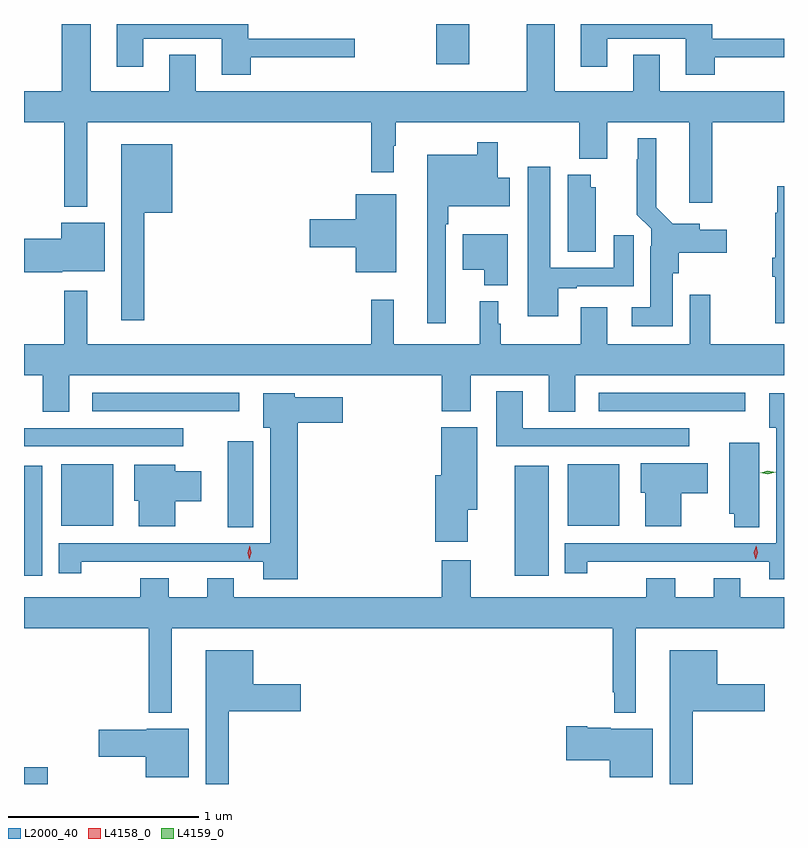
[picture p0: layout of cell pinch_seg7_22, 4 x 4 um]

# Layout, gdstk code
import gdstk
lib = gdstk.Library(unit=1e-6, precision=1e-09)
def R(c, l, rs):  # rectangles x0, y0, x1, y1
    for r in rs: c.add(gdstk.rectangle(r[:2], r[2:], *l))
def P(c, l, *ps):  # polygons
    for p in ps: c.add(gdstk.Polygon(p, *l))
L2000_40 = (2000, 40)
L4158_0 = (4158, 0)
L4159_0 = (4159, 0)

pinch_seg7_22 = lib.new_cell('pinch_seg7_22')
R(pinch_seg7_22, L2000_40, [(1042.731,1046.417,1042.855,1046.504), (1042.731,1047.512,1042.828,1048.093), (1045.313,1047.512,1045.492,1048.093), (1043.804,1047.769,1043.938,1048.222), (1042.928,1047.776,1043.2,1048.099), (1045.592,1047.776,1045.864,1048.099), (1042.731,1048.194,1043.569,1048.29), (1043.091,1048.38,1043.863,1048.476), (1045.755,1048.38,1046.527,1048.476), (1044.901,1050.204,1045.074,1050.417)])
P(pinch_seg7_22, L2000_40, [(1044.559,1049.637),(1044.676,1049.637),(1044.676,1049.777),(1044.688,1049.777),(1044.688,1049.9),(1045.654,1049.9),(1045.654,1049.708),(1045.801,1049.708),(1045.801,1049.9),(1046.231,1049.9),(1046.231,1049.475),(1046.353,1049.475),(1046.353,1049.9),(1046.731,1049.9),(1046.731,1050.064),(1046.077,1050.064),(1046.077,1050.254),(1045.937,1050.254),(1045.937,1050.064),(1045.525,1050.064),(1045.525,1050.417),(1045.378,1050.417),(1045.378,1050.064),(1043.635,1050.064),(1043.635,1050.254),(1043.495,1050.254),(1043.495,1050.064),(1043.083,1050.064),(1043.083,1050.417),(1042.93,1050.417),(1042.93,1050.064),(1042.731,1050.064),(1042.731,1049.9),(1042.944,1049.9),(1042.944,1049.456),(1043.065,1049.456),(1043.065,1049.9),(1044.559,1049.9)],
  [(1046.366,1050.242),(1046.731,1050.242),(1046.731,1050.339),(1046.353,1050.339),(1046.353,1050.417),(1045.661,1050.417),(1045.661,1050.192),(1045.801,1050.192),(1045.801,1050.339),(1046.213,1050.339),(1046.213,1050.15),(1046.366,1050.15)],
  [(1043.924,1050.242),(1044.472,1050.242),(1044.472,1050.339),(1043.911,1050.339),(1043.911,1050.417),(1043.219,1050.417),(1043.219,1050.192),(1043.359,1050.192),(1043.359,1050.339),(1043.771,1050.339),(1043.771,1050.15),(1043.924,1050.15)],
  [(1046.146,1049.106),(1046.177,1049.106),(1046.177,1049.213),(1046.43,1049.213),(1046.43,1049.335),(1046.287,1049.335),(1046.287,1049.365),(1046.145,1049.365),(1046.059,1049.452),(1046.059,1049.815),(1045.961,1049.815),(1045.961,1049.705),(1045.957,1049.705),(1045.957,1049.414),(1046.031,1049.34),(1046.031,1049.246),(1046.027,1049.246),(1046.027,1048.927),(1045.929,1048.927),(1045.929,1048.826),(1046.146,1048.826)],
  [(1044.951,1049.363),(1044.964,1049.363),(1044.964,1049.459),(1045.288,1049.459),(1045.288,1049.607),(1045.225,1049.607),(1045.225,1049.794),(1045.116,1049.794),(1045.116,1049.728),(1044.854,1049.728),(1044.854,1048.842),(1044.951,1048.842)],
  [(1043.365,1049.423),(1043.512,1049.423),(1043.512,1049.785),(1043.243,1049.785),(1043.243,1048.857),(1043.365,1048.857)],
  [(1045.543,1049.025),(1045.639,1049.025),(1045.639,1049.037),(1045.939,1049.037),(1045.939,1049.305),(1045.835,1049.305),(1045.835,1049.133),(1045.501,1049.133),(1045.501,1049.665),(1045.382,1049.665),(1045.382,1048.878),(1045.543,1048.878)],
  [(1045.741,1049.559),(1045.714,1049.559),(1045.714,1049.623),(1045.592,1049.623),(1045.592,1049.218),(1045.741,1049.218)],
  [(1046.731,1049.563),(1046.696,1049.563),(1046.696,1049.424),(1046.684,1049.424),(1046.684,1049.188),(1046.669,1049.188),(1046.669,1049.088),(1046.685,1049.088),(1046.685,1048.842),(1046.731,1048.842)],
  [(1044.691,1049.521),(1044.476,1049.521),(1044.476,1049.39),(1044.234,1049.39),(1044.234,1049.243),(1044.476,1049.243),(1044.476,1049.111),(1044.691,1049.111)],
  [(1042.932,1049.117),(1043.155,1049.117),(1043.155,1049.371),(1042.928,1049.371),(1042.928,1049.288),(1042.731,1049.288),(1042.731,1049.11),(1042.932,1049.11)],
  [(1045.276,1049.311),(1045.04,1049.311),(1045.04,1049.123),(1045.154,1049.123),(1045.154,1049.042),(1045.276,1049.042)],
  [(1042.969,1048.568),(1044.929,1048.568),(1044.929,1048.379),(1045.081,1048.379),(1045.081,1048.568),(1045.493,1048.568),(1045.493,1048.375),(1045.633,1048.375),(1045.633,1048.568),(1046.731,1048.568),(1046.731,1048.732),(1046.344,1048.732),(1046.344,1048.993),(1046.235,1048.993),(1046.235,1048.732),(1045.801,1048.732),(1045.801,1048.927),(1045.661,1048.927),(1045.661,1048.732),(1045.24,1048.732),(1045.24,1048.839),(1045.228,1048.839),(1045.228,1048.957),(1045.13,1048.957),(1045.13,1048.732),(1044.677,1048.732),(1044.677,1048.966),(1044.559,1048.966),(1044.559,1048.732),(1043.065,1048.732),(1043.065,1049.014),(1042.944,1049.014),(1042.944,1048.732),(1042.731,1048.732),(1042.731,1048.568),(1042.829,1048.568),(1042.829,1048.375),(1042.969,1048.375)],
  [(1046.233,1048.29),(1045.357,1048.29),(1045.357,1048.483),(1045.217,1048.483),(1045.217,1048.194),(1046.233,1048.194)],
  [(1044.173,1048.319),(1044.409,1048.319),(1044.409,1048.453),(1044.156,1048.453),(1044.156,1048.474),(1043.99,1048.474),(1043.99,1048.292),(1044.026,1048.292),(1044.026,1047.684),(1042.913,1047.684),(1042.913,1047.525),(1043.031,1047.525),(1043.031,1047.587),(1043.258,1047.587),(1043.258,1047.588),(1043.99,1047.588),(1043.99,1047.494),(1044.173,1047.494)],
  [(1046.731,1048.474),(1046.654,1048.474),(1046.654,1048.292),(1046.69,1048.292),(1046.69,1047.684),(1045.577,1047.684),(1045.577,1047.525),(1045.695,1047.525),(1045.695,1047.587),(1045.922,1047.587),(1045.922,1047.588),(1046.654,1047.588),(1046.654,1047.494),(1046.731,1047.494)],
  [(1045.066,1047.86),(1045.117,1047.86),(1045.117,1048.294),(1044.926,1048.294),(1044.926,1048.041),(1044.896,1048.041),(1044.896,1047.693),(1045.066,1047.693)],
  [(1046.602,1048.213),(1046.444,1048.213),(1046.444,1047.84),(1046.468,1047.84),(1046.468,1047.769),(1046.602,1047.769)],
  [(1046.191,1047.947),(1046.329,1047.947),(1046.329,1048.105),(1045.976,1048.105),(1045.976,1047.951),(1046,1047.951),(1046,1047.773),(1046.191,1047.773)],
  [(1043.527,1047.905),(1043.665,1047.905),(1043.665,1048.063),(1043.527,1048.063),(1043.527,1048.096),(1043.312,1048.096),(1043.312,1047.909),(1043.336,1047.909),(1043.336,1047.773),(1043.527,1047.773)],
  [(1043.509,1047.236),(1045.83,1047.236),(1045.83,1046.899),(1045.837,1046.899),(1045.837,1046.792),(1045.951,1046.792),(1045.951,1047.236),(1046.731,1047.236),(1046.731,1047.4),(1046.5,1047.4),(1046.5,1047.499),(1046.36,1047.499),(1046.36,1047.4),(1046.158,1047.4),(1046.158,1047.499),(1046.006,1047.499),(1046.006,1047.4),(1045.081,1047.4),(1045.081,1047.595),(1044.929,1047.595),(1044.929,1047.4),(1043.836,1047.4),(1043.836,1047.499),(1043.696,1047.499),(1043.696,1047.4),(1043.494,1047.4),(1043.494,1047.499),(1043.342,1047.499),(1043.342,1047.4),(1042.731,1047.4),(1042.731,1047.236),(1043.388,1047.236),(1043.388,1046.792),(1043.509,1046.792)],
  [(1046.251,1046.801),(1046.629,1046.801),(1046.629,1046.943),(1046.38,1046.943),(1046.38,1047.121),(1046.129,1047.121),(1046.129,1046.417),(1046.251,1046.417)],
  [(1043.809,1046.801),(1044.187,1046.801),(1044.187,1046.943),(1043.938,1046.943),(1043.938,1047.121),(1043.687,1047.121),(1043.687,1046.417),(1043.809,1046.417)],
  [(1046.041,1046.707),(1045.818,1046.707),(1045.818,1046.713),(1045.696,1046.713),(1045.696,1046.72),(1045.584,1046.72),(1045.584,1046.542),(1045.814,1046.542),(1045.814,1046.453),(1046.041,1046.453)],
  [(1043.599,1046.707),(1043.376,1046.707),(1043.376,1046.702),(1043.124,1046.702),(1043.124,1046.56),(1043.372,1046.56),(1043.372,1046.453),(1043.599,1046.453)])
P(pinch_seg7_22, L4158_0, [(1043.916,1047.599),(1043.916,1047.599),(1043.908,1047.635),(1043.919,1047.671),(1043.919,1047.671),(1043.919,1047.671),(1043.928,1047.634),(1043.917,1047.599)],
  [(1046.582,1047.599),(1046.582,1047.599),(1046.573,1047.635),(1046.584,1047.671),(1046.585,1047.671),(1046.585,1047.671),(1046.593,1047.634),(1046.582,1047.599)])
P(pinch_seg7_22, L4159_0, [(1046.646,1048.046),(1046.605,1048.056),(1046.605,1048.056),(1046.605,1048.056),(1046.646,1048.066),(1046.687,1048.057),(1046.687,1048.057),(1046.687,1048.057)])

lib.write_gds('pinch_seg7_22.gds')
